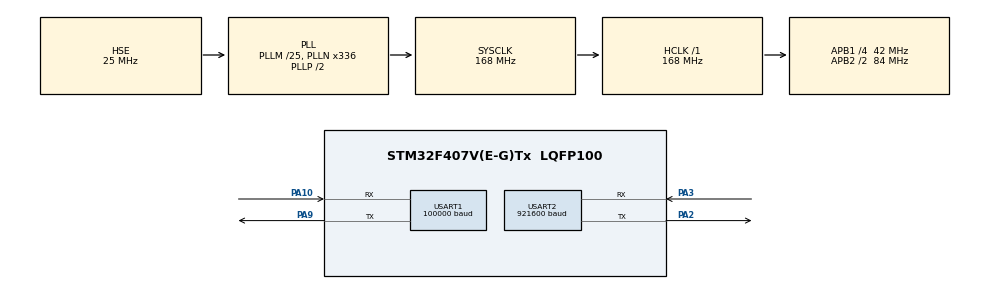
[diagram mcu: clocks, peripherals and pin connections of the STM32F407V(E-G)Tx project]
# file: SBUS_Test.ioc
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Mcu.Family=STM32F4
Mcu.Name=STM32F407V(E-G)Tx
Mcu.Package=LQFP100
NVIC.PriorityGroup=NVIC_PRIORITYGROUP_4
NVIC.USART1_IRQn=true\:0\:0\:false\:false\:true\:true
NVIC.USART2_IRQn=true\:0\:0\:false\:false\:true\:true
PA10.Mode=Asynchronous
PA10.Signal=USART1_RX
PA13.Mode=Serial_Wire
PA13.Signal=SYS_JTMS-SWDIO
PA14.Mode=Serial_Wire
PA14.Signal=SYS_JTCK-SWCLK
PA2.Mode=Asynchronous
PA2.Signal=USART2_TX
PA3.Mode=Asynchronous
PA3.Signal=USART2_RX
PA9.Mode=Asynchronous
PA9.Signal=USART1_TX
PH0-OSC_IN.Mode=HSE-External-Oscillator
PH0-OSC_IN.Signal=RCC_OSC_IN
PH1-OSC_OUT.Mode=HSE-External-Oscillator
PH1-OSC_OUT.Signal=RCC_OSC_OUT
ProjectManager.HeapSize=0x200
ProjectManager.StackSize=0x4000
ProjectManager.TargetToolchain=EWARM
RCC.48MHZClocksFreq_Value=84000000
RCC.AHBFreq_Value=168000000
RCC.APB1CLKDivider=RCC_HCLK_DIV4
RCC.APB1Freq_Value=42000000
RCC.APB1TimFreq_Value=84000000
RCC.APB2CLKDivider=RCC_HCLK_DIV2
RCC.APB2Freq_Value=84000000
RCC.APB2TimFreq_Value=168000000
RCC.CortexFreq_Value=168000000
RCC.HCLKFreq_Value=168000000
RCC.HSE_VALUE=25000000
RCC.HSI_VALUE=16000000
RCC.LSE_VALUE=32768
RCC.PLLM=25
RCC.PLLN=336
RCC.PLLSourceVirtual=RCC_PLLSOURCE_HSE
RCC.SYSCLKFreq_VALUE=168000000
RCC.SYSCLKSource=RCC_SYSCLKSOURCE_PLLCLK
RCC.VCOOutputFreq_Value=336000000
USART1.BaudRate=100000
USART1.Parity=PARITY_EVEN
USART1.StopBits=STOPBITS_2
USART1.VirtualMode=VM_ASYNC
USART1.WordLength=WORDLENGTH_9B
USART2.BaudRate=921600
USART2.VirtualMode=VM_ASYNC
board=SBUS_Test

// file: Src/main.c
/**
  ******************************************************************************
  * File Name          : main.c
  * Description        : Main program body
  ******************************************************************************
  ** This notice applies to any and all portions of this file
  * that are not between comment pairs USER CODE BEGIN and
  * USER CODE END. Other portions of this file, whether
  * inserted by the user or by software development tools
  * are owned by their respective copyright owners.
  *
  * COPYRIGHT(c) 2017 STMicroelectronics
  *
  * Redistribution and use in source and binary forms, with or without modification,
  * are permitted provided that the following conditions are met:
  *   1. Redistributions of source code must retain the above copyright notice,
  *      this list of conditions and the following disclaimer.
  *   2. Redistributions in binary form must reproduce the above copyright notice,
  *      this list of conditions and the following disclaimer in the documentation
  *      and/or other materials provided with the distribution.
  *   3. Neither the name of STMicroelectronics nor the names of its contributors
  *      may be used to endorse or promote products derived from this software
  *      without specific prior written permission.
  *
  * THIS SOFTWARE IS PROVIDED BY THE COPYRIGHT HOLDERS AND CONTRIBUTORS "AS IS"
  * AND ANY EXPRESS OR IMPLIED WARRANTIES, INCLUDING, BUT NOT LIMITED TO, THE
  * IMPLIED WARRANTIES OF MERCHANTABILITY AND FITNESS FOR A PARTICULAR PURPOSE ARE
  * DISCLAIMED. IN NO EVENT SHALL THE COPYRIGHT HOLDER OR CONTRIBUTORS BE LIABLE
  * FOR ANY DIRECT, INDIRECT, INCIDENTAL, SPECIAL, EXEMPLARY, OR CONSEQUENTIAL
  * DAMAGES (INCLUDING, BUT NOT LIMITED TO, PROCUREMENT OF SUBSTITUTE GOODS OR
  * SERVICES; LOSS OF USE, DATA, OR PROFITS; OR BUSINESS INTERRUPTION) HOWEVER
  * CAUSED AND ON ANY THEORY OF LIABILITY, WHETHER IN CONTRACT, STRICT LIABILITY,
  * OR TORT (INCLUDING NEGLIGENCE OR OTHERWISE) ARISING IN ANY WAY OUT OF THE USE
  * OF THIS SOFTWARE, EVEN IF ADVISED OF THE POSSIBILITY OF SUCH DAMAGE.
  *
  ******************************************************************************
  */
#include "main.h"
#include "stm32f4xx_hal.h"
#include "usart.h"
#include "gpio.h"

/* USER CODE BEGIN PV */
/* Private variables ---------------------------------------------------------*/
uint8_t uart_rx_buff[2];
uint8_t rx_buff[2048];
uint8_t rx_flag = 0;
uint8_t len = 24;
uint16_t sbus_data[18];

/* USER CODE END PV */

void SystemClock_Config(void);

/* USER CODE BEGIN PFP */
/* Private function prototypes -----------------------------------------------*/

/* USER CODE END PFP */

int main(void)
{

  /* MCU Configuration----------------------------------------------------------*/

  /* Reset of all peripherals, Initializes the Flash interface and the Systick. */
  HAL_Init();

  /* Configure the system clock */
  SystemClock_Config();

  /* Initialize all configured peripherals */
  MX_GPIO_Init();
  MX_USART1_UART_Init();
  MX_USART2_UART_Init();

  /* USER CODE BEGIN 2 */
  HAL_UART_Receive_IT(&huart1, uart_rx_buff, 1);
  /* USER CODE END 2 */

  /* Infinite loop */
  /* USER CODE BEGIN WHILE */
  while (1)
  {
    if(rx_flag == 1)
    {
      rx_flag = 0;

      sbus_data[0] = rx_buff[1] + (uint16_t)((rx_buff[2]&0x07)<<8);
      sbus_data[1] = (uint16_t)((rx_buff[2]&0xf8)>>3) + (uint16_t)((rx_buff[3]&0x3f)<<5);
      sbus_data[2] = (uint16_t)((rx_buff[3]&0xc0)>>6) + (uint16_t)(rx_buff[4]<<2) + (uint16_t)((rx_buff[5]&0x01)<<10);
      sbus_data[3] = (uint16_t)((rx_buff[5]&0xfe)>>1) + (uint16_t)((rx_buff[6]&0x0f)<<7);
      sbus_data[4] = (uint16_t)((rx_buff[6]&0xf0)>>4) + (uint16_t)((rx_buff[7]&0x7f)<<4);
      sbus_data[5] = (uint16_t)((rx_buff[7]&0x80)>>7) + (uint16_t)(rx_buff[8]<<1) + (uint16_t)((rx_buff[9]&0x03)<<8);

      //printf("%.4d %.4d %.4d %.4d %4.d %4.d r\n" ,sbus_data[0],sbus_data[1], sbus_data[2], sbus_data[3], sbus_data[4], sbus_data[5]);
      printf("%.4d \r\n", sbus_data[0]);
    }
  /* USER CODE END WHILE */

  }

}

/** System Clock Configuration
*/
void SystemClock_Config(void)
{

  RCC_OscInitTypeDef RCC_OscInitStruct;
  RCC_ClkInitTypeDef RCC_ClkInitStruct;

    /**Configure the main internal regulator output voltage
    */
  __HAL_RCC_PWR_CLK_ENABLE();

  __HAL_PWR_VOLTAGESCALING_CONFIG(PWR_REGULATOR_VOLTAGE_SCALE1);

    /**Initializes the CPU, AHB and APB busses clocks
    */
  RCC_OscInitStruct.OscillatorType = RCC_OSCILLATORTYPE_HSE;
  RCC_OscInitStruct.HSEState = RCC_HSE_ON;
  RCC_OscInitStruct.PLL.PLLState = RCC_PLL_ON;
  RCC_OscInitStruct.PLL.PLLSource = RCC_PLLSOURCE_HSE;
  RCC_OscInitStruct.PLL.PLLM = 25;
  RCC_OscInitStruct.PLL.PLLN = 336;
  RCC_OscInitStruct.PLL.PLLP = RCC_PLLP_DIV2;
  RCC_OscInitStruct.PLL.PLLQ = 4;
  if (HAL_RCC_OscConfig(&RCC_OscInitStruct) != HAL_OK)
  {
    _Error_Handler(__FILE__, __LINE__);
  }

    /**Initializes the CPU, AHB and APB busses clocks
    */
  RCC_ClkInitStruct.ClockType = RCC_CLOCKTYPE_HCLK|RCC_CLOCKTYPE_SYSCLK
                              |RCC_CLOCKTYPE_PCLK1|RCC_CLOCKTYPE_PCLK2;
  RCC_ClkInitStruct.SYSCLKSource = RCC_SYSCLKSOURCE_PLLCLK;
  RCC_ClkInitStruct.AHBCLKDivider = RCC_SYSCLK_DIV1;
  RCC_ClkInitStruct.APB1CLKDivider = RCC_HCLK_DIV4;
  RCC_ClkInitStruct.APB2CLKDivider = RCC_HCLK_DIV2;

  if (HAL_RCC_ClockConfig(&RCC_ClkInitStruct, FLASH_LATENCY_5) != HAL_OK)
  {
    _Error_Handler(__FILE__, __LINE__);
  }

    /**Configure the Systick interrupt time
    */
  HAL_SYSTICK_Config(HAL_RCC_GetHCLKFreq()/1000);

    /**Configure the Systick
    */
  HAL_SYSTICK_CLKSourceConfig(SYSTICK_CLKSOURCE_HCLK);

  /* SysTick_IRQn interrupt configuration */
  HAL_NVIC_SetPriority(SysTick_IRQn, 0, 0);
}

/* USER CODE BEGIN 4 */
// UART 수신 인터럽트 발생 시 실행 함수
void HAL_UART_RxCpltCallback(UART_HandleTypeDef *huart)
{
  static uint16_t idx = 0;

  // uart 수신인터럽트 가능 상태로 설정
  HAL_UART_Receive_IT(&huart1, uart_rx_buff, 1);
  // start signal
  if(uart_rx_buff[0] == 0x0f)
  {
    idx = 0;
  }

  rx_buff[idx] = uart_rx_buff[0];
  idx++;

  // end signal
  if((idx >= len) && ((uart_rx_buff[0]&0x0f) == 0x04))
  {
    rx_flag = 1;
    idx = 0;
  }
}

#ifdef __GNUC__
/* With GCC, small printf (option LD Linker->Libraries->Small printf
set to 'Yes') calls __io_putchar() */
#define PUTCHAR_PROTOTYPE int __io_putchar(int ch)
#else
#define PUTCHAR_PROTOTYPE int fputc(int ch, FILE *f)
#endif /* __GNUC__ */
PUTCHAR_PROTOTYPE
{
  /* Place your implementation of fputc here */
  /* e.g. write a character to the EVAL_COM1 and Loop until the end of transmission */
  HAL_UART_Transmit(&huart2, (uint8_t *)&ch, 1, 0xFFFF);

  return ch;
}
/* USER CODE END 4 */

void _Error_Handler(char * file, int line)
{
  while(1)
  {
  }
}

/************************ (C) COPYRIGHT STMicroelectronics *****END OF FILE****/
